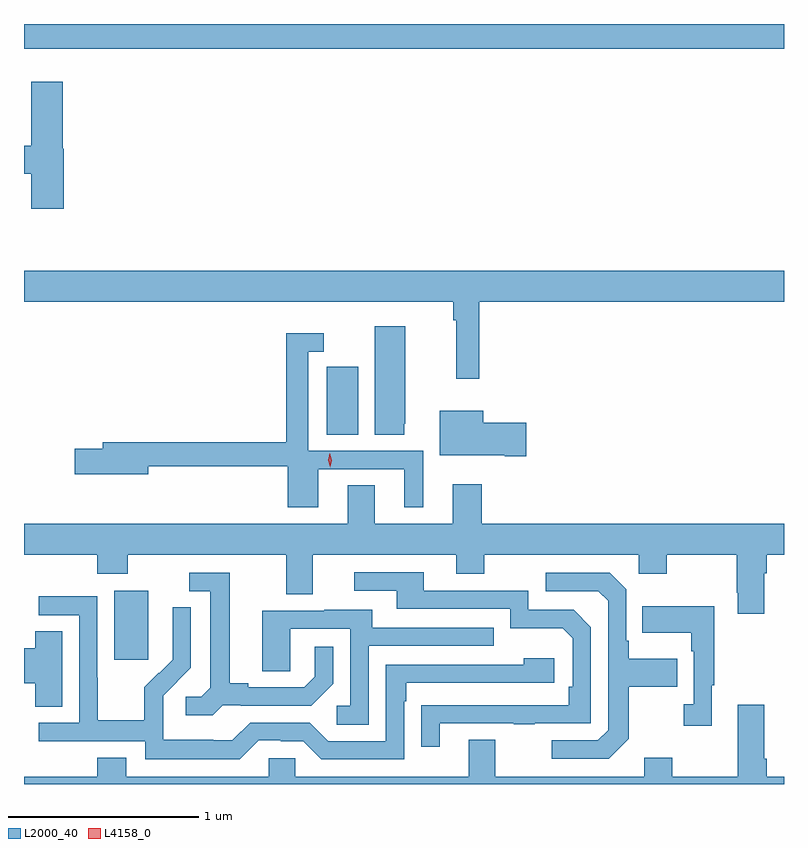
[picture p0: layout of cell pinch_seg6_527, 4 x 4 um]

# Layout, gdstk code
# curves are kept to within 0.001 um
import gdstk
lib = gdstk.Library(unit=1e-6, precision=1e-09)
def R(c, l, rs):  # rectangles x0, y0, x1, y1
    for r in rs: c.add(gdstk.rectangle(r[:2], r[2:], *l))
def P(c, l, *ps):  # polygons
    for p in ps: c.add(gdstk.Polygon(p, *l))
L2000_40 = (2000, 40)
L4158_0 = (4158, 0)

pinch_seg6_527 = lib.new_cell('pinch_seg6_527')
R(pinch_seg6_527, L2000_40, [(781.151,938.793,781.33,939.154), (782.27,939.976,782.434,940.333), (780.676,942.008,784.676,942.138)])
P(pinch_seg6_527, L2000_40, [(780.886,941.481),(780.881,941.481),(780.881,941.833),(780.713,941.833),(780.713,941.498),(780.676,941.498),(780.676,941.351),(780.713,941.351),(780.713,941.166),(780.886,941.166)],
  [(783.071,940.676),(784.676,940.676),(784.676,940.84),(780.676,940.84),(780.676,940.676),(782.935,940.676),(782.935,940.58),(782.95,940.58),(782.95,940.272),(783.071,940.272)],
  [(782.677,940.035),(782.683,940.035),(782.683,940.546),(782.522,940.546),(782.522,939.976),(782.677,939.976)],
  [(782.224,939.795),(782.678,939.795),(782.678,939.594),(782.776,939.594),(782.776,939.891),(782.172,939.891),(782.172,940.413),(782.254,940.413),(782.254,940.51),(782.056,940.51),(782.056,939.938),(781.091,939.938),(781.091,939.902),(780.942,939.902),(780.942,939.767),(781.33,939.767),(781.33,939.81),(782.063,939.81),(782.063,939.594),(782.224,939.594)],
  [(783.319,940.04),(783.094,940.04),(783.094,940.102),(782.864,940.102),(782.864,939.869),(783.206,939.869),(783.206,939.862),(783.319,939.862)],
  [(783.086,939.715),(782.933,939.715),(782.933,939.508),(782.521,939.508),(782.521,939.71),(782.381,939.71),(782.381,939.508),(780.676,939.508),(780.676,939.344),(781.061,939.344),(781.061,939.245),(781.221,939.245),(781.221,939.344),(782.057,939.344),(782.057,939.136),(782.197,939.136),(782.197,939.344),(782.951,939.344),(782.951,939.245),(783.099,939.245),(783.099,939.344),(783.912,939.344),(783.912,939.245),(784.059,939.245),(784.059,939.344),(784.426,939.344),(784.426,939.145),(784.433,939.145),(784.433,939.033),(784.573,939.033),(784.573,939.248),(784.586,939.248),(784.586,939.344),(784.676,939.344),(784.676,939.508),(783.086,939.508)],
  [(782.863,938.457),(783.253,938.457),(783.253,938.452),(783.365,938.452),(783.365,938.457),(783.66,938.457),(783.66,938.964),(783.57,939.054),(783.33,939.054),(783.33,939.156),(782.779,939.156),(782.779,939.252),(782.415,939.252),(782.415,939.156),(782.639,939.156),(782.639,939.06),(783.234,939.06),(783.234,938.957),(783.511,938.957),(783.564,938.904),(783.564,938.65),(783.544,938.65),(783.544,938.553),(782.767,938.552),(782.767,938.334),(782.863,938.334)],
  [(783.859,938.377),(783.859,938.65),(784.115,938.65),(784.115,938.797),(783.859,938.797),(783.859,938.893),(783.846,938.893),(783.846,939.162),(783.759,939.249),(783.423,939.249),(783.423,939.153),(783.699,939.153),(783.75,939.102),(783.75,938.421),(783.696,938.367),(783.453,938.367),(783.453,938.271),(783.753,938.271)],
  [(781.722,938.553),(781.816,938.553),(781.816,938.55),(782.188,938.55),(782.304,938.666),(782.304,938.86),(782.207,938.86),(782.207,938.703),(782.15,938.646),(781.855,938.646),(781.855,938.669),(781.759,938.669),(781.759,939.249),(781.545,939.249),(781.545,939.153),(781.655,939.153),(781.655,938.645),(781.608,938.598),(781.527,938.598),(781.527,938.501),(781.67,938.501)],
  [(781.911,938.367),(782.027,938.367),(782.027,938.364),(782.145,938.364),(782.241,938.268),(782.676,938.268),(782.676,938.573),(782.689,938.573),(782.689,938.67),(783.466,938.67),(783.466,938.8),(783.305,938.8),(783.305,938.766),(782.58,938.766),(782.58,938.364),(782.277,938.364),(782.181,938.46),(781.866,938.46),(781.773,938.367),(781.673,938.367),(781.673,938.371),(781.41,938.371),(781.41,938.505),(781.408,938.505),(781.408,938.602),(781.554,938.75),(781.554,939.068),(781.458,939.068),(781.458,938.914),(781.46,938.914),(781.46,938.792),(781.389,938.721),(781.386,938.724),(781.309,938.647),(781.309,938.473),(781.065,938.473),(781.065,938.696),(781.062,938.696),(781.062,939.126),(780.753,939.126),(780.753,939.027),(780.966,939.027),(780.966,938.46),(780.753,938.46),(780.753,938.364),(781.314,938.364),(781.314,938.267),(781.811,938.267)],
  [(784.297,938.657),(784.309,938.657),(784.309,939.073),(783.931,939.073),(783.931,938.933),(784.188,938.933),(784.188,938.837),(784.2,938.837),(784.2,938.558),(784.149,938.558),(784.149,938.445),(784.297,938.445)],
  [(782.49,938.865),(783.149,938.865),(783.149,938.961),(782.509,938.961),(782.509,939.055),(782.255,939.055),(782.255,939.051),(781.931,939.051),(781.931,938.731),(782.076,938.731),(782.076,938.955),(782.394,938.955),(782.394,938.55),(782.322,938.55),(782.322,938.449),(782.49,938.449)],
  [(780.877,938.942),(780.734,938.942),(780.734,938.852),(780.676,938.852),(780.676,938.669),(780.734,938.669),(780.734,938.545),(780.877,938.545)],
  [(784.433,938.554),(784.433,938.176),(784.089,938.176),(784.089,938.275),(783.941,938.275),(783.941,938.176),(783.157,938.176),(783.157,938.371),(783.017,938.371),(783.017,938.176),(782.103,938.176),(782.103,938.274),(781.965,938.274),(781.965,938.176),(781.213,938.176),(781.213,938.275),(781.061,938.275),(781.061,938.176),(780.676,938.176),(780.676,938.138),(784.676,938.138),(784.676,938.176),(784.586,938.176),(784.586,938.272),(784.573,938.272),(784.573,938.554)])
P(pinch_seg6_527, L4158_0, [(782.288,939.806),(782.288,939.807),(782.277,939.842),(782.285,939.879),(782.286,939.879),(782.286,939.879),(782.297,939.843),(782.288,939.807)])

lib.write_gds('pinch_seg6_527.gds')
